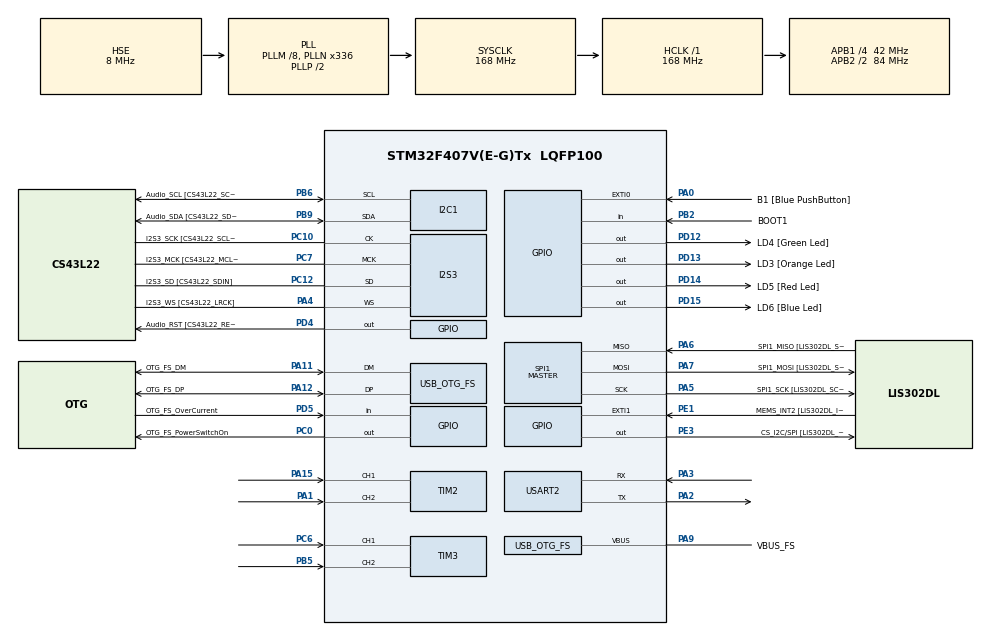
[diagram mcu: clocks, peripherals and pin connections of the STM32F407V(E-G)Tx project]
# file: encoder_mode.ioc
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I2S3.AudioFreq-Half_Duplex_Master=I2S_AUDIOFREQ_96K
I2S3.ErrorAudioFreq=-2.34 %
I2S3.ErrorAudioFreq-Half_Duplex_Master=0.8 %
I2S3.FullDuplexMode=I2S_FULLDUPLEXMODE_DISABLE
I2S3.Instance=SPI$Index
I2S3.RealAudioFreq=93.75 KHz
I2S3.RealAudioFreq-Half_Duplex_Master=96.774 KHz
I2S3.VirtualMode=I2S_MODE_MASTER
Mcu.Family=STM32F4
Mcu.Name=STM32F407V(E-G)Tx
Mcu.Package=LQFP100
NVIC.OTG_FS_IRQn=true\:0\:0\:false\:false\:true\:true\:true\:true
NVIC.PriorityGroup=NVIC_PRIORITYGROUP_0
NVIC.TIM2_IRQn=true\:0\:0\:false\:false\:true\:true\:true\:true
PA0-WKUP.GPIO_Label=B1 [Blue PushButton]
PA0-WKUP.GPIO_ModeDefaultEXTI=GPIO_MODE_EVT_RISING
PA0-WKUP.GPIO_PuPd=GPIO_NOPULL
PA0-WKUP.Signal=GPXTI0
PA1.Signal=S_TIM2_CH2
PA10.GPIO_Label=OTG_FS_ID
PA10.GPIO_Mode=GPIO_MODE_AF_PP
PA10.GPIO_PuPd=GPIO_NOPULL
PA10.GPIO_Speed=GPIO_SPEED_FREQ_LOW
PA10.Signal=USB_OTG_FS_ID
PA11.GPIO_Label=OTG_FS_DM
PA11.GPIO_Mode=GPIO_MODE_AF_PP
PA11.GPIO_PuPd=GPIO_NOPULL
PA11.GPIO_Speed=GPIO_SPEED_FREQ_LOW
PA11.Mode=Host_Only
PA11.Signal=USB_OTG_FS_DM
PA12.GPIO_Label=OTG_FS_DP
PA12.GPIO_Mode=GPIO_MODE_AF_PP
PA12.GPIO_PuPd=GPIO_NOPULL
PA12.GPIO_Speed=GPIO_SPEED_FREQ_LOW
PA12.Mode=Host_Only
PA12.Signal=USB_OTG_FS_DP
PA13.GPIO_Label=SWDIO
PA13.Mode=Serial_Wire
PA13.Signal=SYS_JTMS-SWDIO
PA14.GPIO_Label=SWCLK
PA14.Mode=Serial_Wire
PA14.Signal=SYS_JTCK-SWCLK
PA15.Signal=S_TIM2_CH1_ETR
PA2.Mode=Asynchronous
PA2.Signal=USART2_TX
PA3.Mode=Asynchronous
PA3.Signal=USART2_RX
PA4.GPIO_Label=I2S3_WS [CS43L22_LRCK]
PA4.GPIO_Mode=GPIO_MODE_AF_PP
PA4.GPIO_PuPd=GPIO_NOPULL
PA4.GPIO_Speed=GPIO_SPEED_FREQ_LOW
PA4.Mode=Half_Duplex_Master
PA4.Signal=I2S3_WS
PA5.GPIO_Label=SPI1_SCK [LIS302DL_SCL/SPC]
PA5.GPIO_Mode=GPIO_MODE_AF_PP
PA5.GPIO_PuPd=GPIO_NOPULL
PA5.GPIO_Speed=GPIO_SPEED_FREQ_LOW
PA5.Mode=Full_Duplex_Master
PA5.Signal=SPI1_SCK
PA6.GPIO_Label=SPI1_MISO [LIS302DL_SDO]
PA6.GPIO_Mode=GPIO_MODE_AF_PP
PA6.GPIO_PuPd=GPIO_NOPULL
PA6.GPIO_Speed=GPIO_SPEED_FREQ_LOW
PA6.Mode=Full_Duplex_Master
PA6.Signal=SPI1_MISO
PA7.GPIO_Label=SPI1_MOSI [LIS302DL_SDA/SDI/SDO]
PA7.GPIO_Mode=GPIO_MODE_AF_PP
PA7.GPIO_PuPd=GPIO_NOPULL
PA7.GPIO_Speed=GPIO_SPEED_FREQ_LOW
PA7.Mode=Full_Duplex_Master
PA7.Signal=SPI1_MOSI
PA9.GPIO_Label=VBUS_FS
PA9.GPIO_Mode=GPIO_MODE_INPUT
PA9.GPIO_PuPd=GPIO_NOPULL
PA9.Mode=Activate_VBUS
PA9.Signal=USB_OTG_FS_VBUS
PB10.GPIO_Label=CLK_IN [MP45DT02_CLK]
PB10.GPIO_Mode=GPIO_MODE_AF_PP
PB10.GPIO_PuPd=GPIO_NOPULL
PB10.GPIO_Speed=GPIO_SPEED_FREQ_LOW
PB10.Signal=I2S2_CK
PB2.GPIO_Label=BOOT1
PB2.GPIO_Mode=GPIO_MODE_INPUT
PB2.GPIO_PuPd=GPIO_NOPULL
PB2.Signal=GPIO_Input
PB3.GPIO_Label=SWO
PB3.Signal=SYS_JTDO-SWO
PB5.Signal=S_TIM3_CH2
PB6.GPIO_Label=Audio_SCL [CS43L22_SCL]
PB6.GPIO_Mode=GPIO_MODE_AF_OD
PB6.GPIO_Pu=GPIO_PULLUP
PB6.GPIO_PuPd=GPIO_NOPULL
PB6.GPIO_Speed=GPIO_SPEED_FREQ_LOW
PB6.Mode=I2C
PB6.Signal=I2C1_SCL
PB9.GPIO_Label=Audio_SDA [CS43L22_SDA]
PB9.GPIO_Mode=GPIO_MODE_AF_OD
PB9.GPIO_Pu=GPIO_PULLUP
PB9.GPIO_PuPd=GPIO_NOPULL
PB9.GPIO_Speed=GPIO_SPEED_FREQ_LOW
PB9.Mode=I2C
PB9.Signal=I2C1_SDA
PC0.GPIO_Label=OTG_FS_PowerSwitchOn
PC0.GPIO_PuPd=GPIO_NOPULL
PC0.GPIO_Speed=GPIO_SPEED_FREQ_LOW
PC0.PinState=GPIO_PIN_SET
PC0.Signal=GPIO_Output
PC10.GPIO_Label=I2S3_SCK [CS43L22_SCLK]
PC10.GPIO_Mode=GPIO_MODE_AF_PP
PC10.GPIO_PuPd=GPIO_NOPULL
PC10.GPIO_Speed=GPIO_SPEED_FREQ_LOW
PC10.Mode=Half_Duplex_Master
PC10.Signal=I2S3_CK
PC12.GPIO_Label=I2S3_SD [CS43L22_SDIN]
PC12.GPIO_Mode=GPIO_MODE_AF_PP
PC12.GPIO_PuPd=GPIO_NOPULL
PC12.GPIO_Speed=GPIO_SPEED_FREQ_LOW
PC12.Mode=Half_Duplex_Master
PC12.Signal=I2S3_SD
PC14-OSC32_IN.GPIO_Label=PC14-OSC32_IN
PC14-OSC32_IN.Mode=LSE-External-Oscillator
PC14-OSC32_IN.Signal=RCC_OSC32_IN
PC15-OSC32_OUT.GPIO_Label=PC15-OSC32_OUT
PC15-OSC32_OUT.Mode=LSE-External-Oscillator
PC15-OSC32_OUT.Signal=RCC_OSC32_OUT
PC3.GPIO_Label=PDM_OUT [MP45DT02_DOUT]
PC3.GPIO_Mode=GPIO_MODE_AF_PP
PC3.GPIO_PuPd=GPIO_NOPULL
PC3.GPIO_Speed=GPIO_SPEED_FREQ_LOW
PC3.Signal=I2S2_SD
PC6.Signal=S_TIM3_CH1
PC7.GPIO_Label=I2S3_MCK [CS43L22_MCLK]
PC7.GPIO_Mode=GPIO_MODE_AF_PP
PC7.GPIO_PuPd=GPIO_NOPULL
PC7.GPIO_Speed=GPIO_SPEED_FREQ_LOW
PC7.Mode=Master_Clock_Activated
PC7.Signal=I2S3_MCK
PD12.GPIO_Label=LD4 [Green Led]
PD12.GPIO_PuPd=GPIO_NOPULL
PD12.GPIO_Speed=GPIO_SPEED_FREQ_LOW
PD12.Signal=GPIO_Output
PD13.GPIO_Label=LD3 [Orange Led]
PD13.GPIO_PuPd=GPIO_NOPULL
PD13.GPIO_Speed=GPIO_SPEED_FREQ_LOW
PD13.Signal=GPIO_Output
PD14.GPIO_Label=LD5 [Red Led]
PD14.GPIO_PuPd=GPIO_NOPULL
PD14.GPIO_Speed=GPIO_SPEED_FREQ_LOW
PD14.Signal=GPIO_Output
PD15.GPIO_Label=LD6 [Blue Led]
PD15.GPIO_PuPd=GPIO_NOPULL
PD15.GPIO_Speed=GPIO_SPEED_FREQ_LOW
PD15.Signal=GPIO_Output
PD4.GPIO_Label=Audio_RST [CS43L22_RESET]
PD4.GPIO_PuPd=GPIO_NOPULL
PD4.GPIO_Speed=GPIO_SPEED_FREQ_LOW
PD4.Signal=GPIO_Output
PD5.GPIO_Label=OTG_FS_OverCurrent
PD5.GPIO_Mode=GPIO_MODE_INPUT
PD5.GPIO_PuPd=GPIO_NOPULL
PD5.Signal=GPIO_Input
PE1.GPIO_Label=MEMS_INT2 [LIS302DL_INT2]
PE1.GPIO_ModeDefaultEXTI=GPIO_MODE_EVT_RISING
PE1.GPIO_PuPd=GPIO_NOPULL
PE1.Signal=GPXTI1
PE3.GPIO_Label=CS_I2C/SPI [LIS302DL_CS_I2C/SPI]
PE3.GPIO_PuPd=GPIO_NOPULL
PE3.GPIO_Speed=GPIO_SPEED_FREQ_LOW
PE3.Signal=GPIO_Output
PH0-OSC_IN.GPIO_Label=PH0-OSC_IN
PH0-OSC_IN.Mode=HSE-External-Oscillator
PH0-OSC_IN.Signal=RCC_OSC_IN
PH1-OSC_OUT.GPIO_Label=PH1-OSC_OUT
PH1-OSC_OUT.Mode=HSE-External-Oscillator
PH1-OSC_OUT.Signal=RCC_OSC_OUT
ProjectManager.HeapSize=0x200
ProjectManager.StackSize=0x400
ProjectManager.TargetToolchain=STM32CubeIDE
RCC.48MHZClocksFreq_Value=48000000
RCC.AHBFreq_Value=168000000
RCC.APB1CLKDivider=RCC_HCLK_DIV4
RCC.APB1Freq_Value=42000000
RCC.APB1TimFreq_Value=84000000
RCC.APB2CLKDivider=RCC_HCLK_DIV2
RCC.APB2Freq_Value=84000000
RCC.APB2TimFreq_Value=168000000
RCC.CortexFreq_Value=168000000
RCC.HCLKFreq_Value=168000000
RCC.HSE_VALUE=8000000
RCC.HSI_VALUE=16000000
RCC.PLLM=8
RCC.PLLN=336
RCC.PLLQ=7
RCC.SYSCLKFreq_VALUE=168000000
RCC.SYSCLKSource=RCC_SYSCLKSOURCE_PLLCLK
RCC.VCOOutputFreq_Value=336000000
SH.S_TIM2_CH1_ETR.0=TIM2_CH1,Encoder_Interface
SH.S_TIM2_CH2.0=TIM2_CH2,Encoder_Interface
SH.S_TIM3_CH1.0=TIM3_CH1,Encoder_Interface
SH.S_TIM3_CH2.0=TIM3_CH2,Encoder_Interface
SPI1.BaudRatePrescaler-Full_Duplex_Master=SPI_BAUDRATEPRESCALER_2
SPI1.CalculateBaudRate-Full_Duplex_Master=42.0 MBits/s
SPI1.Direction=SPI_DIRECTION_2LINES
SPI1.Mode=SPI_MODE_MASTER
SPI1.Mode-Full_Duplex_Master=SPI_MODE_MASTER
SPI1.VirtualType=VM_MASTER
TIM2.AutoReloadPreload=TIM_AUTORELOAD_PRELOAD_DISABLE
TIM2.EncoderMode=TIM_ENCODERMODE_TI12
TIM3.AutoReloadPreload=TIM_AUTORELOAD_PRELOAD_ENABLE
TIM3.EncoderMode=TIM_ENCODERMODE_TI12
USART2.VirtualMode=VM_ASYNC
USB_HOST.BSP.number=1
USB_HOST.USBH_HandleTypeDef-CDC_FS=hUsbHostFS
USB_HOST.VirtualModeFS=Cdc
USB_HOST0.BSP.STBoard=false
USB_HOST0.BSP.api=Unknown
USB_HOST0.BSP.instance=PC0
USB_HOST0.BSP.ip=GPIO
USB_HOST0.BSP.mode=Output
USB_HOST0.BSP.name=Drive_VBUS_FS
USB_HOST0.BSP.solution=PC0
USB_OTG_FS.VirtualMode=Host_Only
USB_OTG_FS.phy_itface=HCD_PHY_EMBEDDED
VP_USB_HOST_VS_USB_HOST_CDC_FS.Mode=CDC_FS
board=STM32F407G-DISC1

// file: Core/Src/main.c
/* USER CODE BEGIN Header */
/**
  ******************************************************************************
  * @file           : main.c
  * @brief          : Main program body
  ******************************************************************************
  * @attention
  *
  * Copyright (c) 2023 STMicroelectronics.
  * All rights reserved.
  *
  * This software is licensed under terms that can be found in the LICENSE file
  * in the root directory of this software component.
  * If no LICENSE file comes with this software, it is provided AS-IS.
  *
  ******************************************************************************
  */
/* USER CODE END Header */
#include "main.h"
#include "usb_host.h"

/* USER CODE BEGIN Includes */
#include <stdio.h>
/* USER CODE END Includes */

I2C_HandleTypeDef hi2c1;

I2S_HandleTypeDef hi2s3;

SPI_HandleTypeDef hspi1;

TIM_HandleTypeDef htim2;
TIM_HandleTypeDef htim3;

UART_HandleTypeDef huart2;

void SystemClock_Config(void);
static void MX_GPIO_Init(void);
static void MX_I2C1_Init(void);
static void MX_I2S3_Init(void);
static void MX_SPI1_Init(void);
static void MX_USART2_UART_Init(void);
static void MX_TIM3_Init(void);
static void MX_TIM2_Init(void);
void MX_USB_HOST_Process(void);

/* USER CODE BEGIN 0 */
uint32_t rot_new_state;
uint32_t rot_old_state;
uint32_t rot_cnt;
uint32_t _write(int file, char* p, int len){
	HAL_UART_Transmit(&huart2, p, len, 10);
	return len;

}

/* USER CODE END 0 */

int main(void)
{

  /* MCU Configuration--------------------------------------------------------*/

  /* Reset of all peripherals, Initializes the Flash interface and the Systick. */
  HAL_Init();

  /* Configure the system clock */
  SystemClock_Config();

  /* Initialize all configured peripherals */
  MX_GPIO_Init();
  MX_I2C1_Init();
  MX_I2S3_Init();
  MX_SPI1_Init();
  MX_USB_HOST_Init();
  MX_USART2_UART_Init();
  MX_TIM3_Init();
  MX_TIM2_Init();
  /* USER CODE BEGIN 2 */

  HAL_TIM_Encoder_Start_IT(&htim2, TIM_CHANNEL_ALL);

  /* USER CODE END 2 */

  /* Infinite loop */
  while (1)
  {
    MX_USB_HOST_Process();
    uint32_t last_print = 0, now = 0;

    long int count = (int)TIM2->CNT/4;

	now = HAL_GetTick();
	if (now - last_print >= 1000) {
		printf("Encoder counter = %ld\n", count );
		last_print = now;

    }
  }
}

void SystemClock_Config(void)
{
  RCC_OscInitTypeDef RCC_OscInitStruct = {0};
  RCC_ClkInitTypeDef RCC_ClkInitStruct = {0};

  /** Configure the main internal regulator output voltage
  */
  __HAL_RCC_PWR_CLK_ENABLE();
  __HAL_PWR_VOLTAGESCALING_CONFIG(PWR_REGULATOR_VOLTAGE_SCALE1);

  /** Initializes the RCC Oscillators according to the specified parameters
  * in the RCC_OscInitTypeDef structure.
  */
  RCC_OscInitStruct.OscillatorType = RCC_OSCILLATORTYPE_HSE;
  RCC_OscInitStruct.HSEState = RCC_HSE_ON;
  RCC_OscInitStruct.PLL.PLLState = RCC_PLL_ON;
  RCC_OscInitStruct.PLL.PLLSource = RCC_PLLSOURCE_HSE;
  RCC_OscInitStruct.PLL.PLLM = 8;
  RCC_OscInitStruct.PLL.PLLN = 336;
  RCC_OscInitStruct.PLL.PLLP = RCC_PLLP_DIV2;
  RCC_OscInitStruct.PLL.PLLQ = 7;
  if (HAL_RCC_OscConfig(&RCC_OscInitStruct) != HAL_OK)
  {
    Error_Handler();
  }

  /** Initializes the CPU, AHB and APB buses clocks
  */
  RCC_ClkInitStruct.ClockType = RCC_CLOCKTYPE_HCLK|RCC_CLOCKTYPE_SYSCLK
                              |RCC_CLOCKTYPE_PCLK1|RCC_CLOCKTYPE_PCLK2;
  RCC_ClkInitStruct.SYSCLKSource = RCC_SYSCLKSOURCE_PLLCLK;
  RCC_ClkInitStruct.AHBCLKDivider = RCC_SYSCLK_DIV1;
  RCC_ClkInitStruct.APB1CLKDivider = RCC_HCLK_DIV4;
  RCC_ClkInitStruct.APB2CLKDivider = RCC_HCLK_DIV2;

  if (HAL_RCC_ClockConfig(&RCC_ClkInitStruct, FLASH_LATENCY_5) != HAL_OK)
  {
    Error_Handler();
  }
}

static void MX_I2C1_Init(void)
{

  hi2c1.Instance = I2C1;
  hi2c1.Init.ClockSpeed = 100000;
  hi2c1.Init.DutyCycle = I2C_DUTYCYCLE_2;
  hi2c1.Init.OwnAddress1 = 0;
  hi2c1.Init.AddressingMode = I2C_ADDRESSINGMODE_7BIT;
  hi2c1.Init.DualAddressMode = I2C_DUALADDRESS_DISABLE;
  hi2c1.Init.OwnAddress2 = 0;
  hi2c1.Init.GeneralCallMode = I2C_GENERALCALL_DISABLE;
  hi2c1.Init.NoStretchMode = I2C_NOSTRETCH_DISABLE;
  if (HAL_I2C_Init(&hi2c1) != HAL_OK)
  {
    Error_Handler();
  }

}

static void MX_I2S3_Init(void)
{

  hi2s3.Instance = SPI3;
  hi2s3.Init.Mode = I2S_MODE_MASTER_TX;
  hi2s3.Init.Standard = I2S_STANDARD_PHILIPS;
  hi2s3.Init.DataFormat = I2S_DATAFORMAT_16B;
  hi2s3.Init.MCLKOutput = I2S_MCLKOUTPUT_ENABLE;
  hi2s3.Init.AudioFreq = I2S_AUDIOFREQ_96K;
  hi2s3.Init.CPOL = I2S_CPOL_LOW;
  hi2s3.Init.ClockSource = I2S_CLOCK_PLL;
  hi2s3.Init.FullDuplexMode = I2S_FULLDUPLEXMODE_DISABLE;
  if (HAL_I2S_Init(&hi2s3) != HAL_OK)
  {
    Error_Handler();
  }

}

static void MX_SPI1_Init(void)
{

  /* SPI1 parameter configuration*/
  hspi1.Instance = SPI1;
  hspi1.Init.Mode = SPI_MODE_MASTER;
  hspi1.Init.Direction = SPI_DIRECTION_2LINES;
  hspi1.Init.DataSize = SPI_DATASIZE_8BIT;
  hspi1.Init.CLKPolarity = SPI_POLARITY_LOW;
  hspi1.Init.CLKPhase = SPI_PHASE_1EDGE;
  hspi1.Init.NSS = SPI_NSS_SOFT;
  hspi1.Init.BaudRatePrescaler = SPI_BAUDRATEPRESCALER_2;
  hspi1.Init.FirstBit = SPI_FIRSTBIT_MSB;
  hspi1.Init.TIMode = SPI_TIMODE_DISABLE;
  hspi1.Init.CRCCalculation = SPI_CRCCALCULATION_DISABLE;
  hspi1.Init.CRCPolynomial = 10;
  if (HAL_SPI_Init(&hspi1) != HAL_OK)
  {
    Error_Handler();
  }

}

static void MX_TIM2_Init(void)
{

  TIM_Encoder_InitTypeDef sConfig = {0};
  TIM_MasterConfigTypeDef sMasterConfig = {0};

  htim2.Instance = TIM2;
  htim2.Init.Prescaler = 0;
  htim2.Init.CounterMode = TIM_COUNTERMODE_UP;
  htim2.Init.Period = 4294967295;
  htim2.Init.ClockDivision = TIM_CLOCKDIVISION_DIV1;
  htim2.Init.AutoReloadPreload = TIM_AUTORELOAD_PRELOAD_DISABLE;
  sConfig.EncoderMode = TIM_ENCODERMODE_TI12;
  sConfig.IC1Polarity = TIM_ICPOLARITY_RISING;
  sConfig.IC1Selection = TIM_ICSELECTION_DIRECTTI;
  sConfig.IC1Prescaler = TIM_ICPSC_DIV1;
  sConfig.IC1Filter = 0;
  sConfig.IC2Polarity = TIM_ICPOLARITY_RISING;
  sConfig.IC2Selection = TIM_ICSELECTION_DIRECTTI;
  sConfig.IC2Prescaler = TIM_ICPSC_DIV1;
  sConfig.IC2Filter = 0;
  if (HAL_TIM_Encoder_Init(&htim2, &sConfig) != HAL_OK)
  {
    Error_Handler();
  }
  sMasterConfig.MasterOutputTrigger = TIM_TRGO_RESET;
  sMasterConfig.MasterSlaveMode = TIM_MASTERSLAVEMODE_DISABLE;
  if (HAL_TIMEx_MasterConfigSynchronization(&htim2, &sMasterConfig) != HAL_OK)
  {
    Error_Handler();
  }

}

static void MX_TIM3_Init(void)
{

  TIM_Encoder_InitTypeDef sConfig = {0};
  TIM_MasterConfigTypeDef sMasterConfig = {0};

  htim3.Instance = TIM3;
  htim3.Init.Prescaler = 0;
  htim3.Init.CounterMode = TIM_COUNTERMODE_UP;
  htim3.Init.Period = 65535;
  htim3.Init.ClockDivision = TIM_CLOCKDIVISION_DIV1;
  htim3.Init.AutoReloadPreload = TIM_AUTORELOAD_PRELOAD_ENABLE;
  sConfig.EncoderMode = TIM_ENCODERMODE_TI12;
  sConfig.IC1Polarity = TIM_ICPOLARITY_RISING;
  sConfig.IC1Selection = TIM_ICSELECTION_DIRECTTI;
  sConfig.IC1Prescaler = TIM_ICPSC_DIV1;
  sConfig.IC1Filter = 0;
  sConfig.IC2Polarity = TIM_ICPOLARITY_RISING;
  sConfig.IC2Selection = TIM_ICSELECTION_DIRECTTI;
  sConfig.IC2Prescaler = TIM_ICPSC_DIV1;
  sConfig.IC2Filter = 0;
  if (HAL_TIM_Encoder_Init(&htim3, &sConfig) != HAL_OK)
  {
    Error_Handler();
  }
  sMasterConfig.MasterOutputTrigger = TIM_TRGO_RESET;
  sMasterConfig.MasterSlaveMode = TIM_MASTERSLAVEMODE_DISABLE;
  if (HAL_TIMEx_MasterConfigSynchronization(&htim3, &sMasterConfig) != HAL_OK)
  {
    Error_Handler();
  }

}

static void MX_USART2_UART_Init(void)
{

  huart2.Instance = USART2;
  huart2.Init.BaudRate = 115200;
  huart2.Init.WordLength = UART_WORDLENGTH_8B;
  huart2.Init.StopBits = UART_STOPBITS_1;
  huart2.Init.Parity = UART_PARITY_NONE;
  huart2.Init.Mode = UART_MODE_TX_RX;
  huart2.Init.HwFlowCtl = UART_HWCONTROL_NONE;
  huart2.Init.OverSampling = UART_OVERSAMPLING_16;
  if (HAL_UART_Init(&huart2) != HAL_OK)
  {
    Error_Handler();
  }

}

static void MX_GPIO_Init(void)
{
  GPIO_InitTypeDef GPIO_InitStruct = {0};

  /* GPIO Ports Clock Enable */
  __HAL_RCC_GPIOE_CLK_ENABLE();
  __HAL_RCC_GPIOC_CLK_ENABLE();
  __HAL_RCC_GPIOH_CLK_ENABLE();
  __HAL_RCC_GPIOA_CLK_ENABLE();
  __HAL_RCC_GPIOB_CLK_ENABLE();
  __HAL_RCC_GPIOD_CLK_ENABLE();

  /*Configure GPIO pin Output Level */
  HAL_GPIO_WritePin(CS_I2C_SPI_GPIO_Port, CS_I2C_SPI_Pin, GPIO_PIN_RESET);

  /*Configure GPIO pin Output Level */
  HAL_GPIO_WritePin(OTG_FS_PowerSwitchOn_GPIO_Port, OTG_FS_PowerSwitchOn_Pin, GPIO_PIN_SET);

  /*Configure GPIO pin Output Level */
  HAL_GPIO_WritePin(GPIOD, LD4_Pin|LD3_Pin|LD5_Pin|LD6_Pin
                          |Audio_RST_Pin, GPIO_PIN_RESET);

  /*Configure GPIO pin : CS_I2C_SPI_Pin */
  GPIO_InitStruct.Pin = CS_I2C_SPI_Pin;
  GPIO_InitStruct.Mode = GPIO_MODE_OUTPUT_PP;
  GPIO_InitStruct.Pull = GPIO_NOPULL;
  GPIO_InitStruct.Speed = GPIO_SPEED_FREQ_LOW;
  HAL_GPIO_Init(CS_I2C_SPI_GPIO_Port, &GPIO_InitStruct);

  /*Configure GPIO pin : OTG_FS_PowerSwitchOn_Pin */
  GPIO_InitStruct.Pin = OTG_FS_PowerSwitchOn_Pin;
  GPIO_InitStruct.Mode = GPIO_MODE_OUTPUT_PP;
  GPIO_InitStruct.Pull = GPIO_NOPULL;
  GPIO_InitStruct.Speed = GPIO_SPEED_FREQ_LOW;
  HAL_GPIO_Init(OTG_FS_PowerSwitchOn_GPIO_Port, &GPIO_InitStruct);

  /*Configure GPIO pin : PDM_OUT_Pin */
  GPIO_InitStruct.Pin = PDM_OUT_Pin;
  GPIO_InitStruct.Mode = GPIO_MODE_AF_PP;
  GPIO_InitStruct.Pull = GPIO_NOPULL;
  GPIO_InitStruct.Speed = GPIO_SPEED_FREQ_LOW;
  GPIO_InitStruct.Alternate = GPIO_AF5_SPI2;
  HAL_GPIO_Init(PDM_OUT_GPIO_Port, &GPIO_InitStruct);

  /*Configure GPIO pin : B1_Pin */
  GPIO_InitStruct.Pin = B1_Pin;
  GPIO_InitStruct.Mode = GPIO_MODE_EVT_RISING;
  GPIO_InitStruct.Pull = GPIO_NOPULL;
  HAL_GPIO_Init(B1_GPIO_Port, &GPIO_InitStruct);

  /*Configure GPIO pin : BOOT1_Pin */
  GPIO_InitStruct.Pin = BOOT1_Pin;
  GPIO_InitStruct.Mode = GPIO_MODE_INPUT;
  GPIO_InitStruct.Pull = GPIO_NOPULL;
  HAL_GPIO_Init(BOOT1_GPIO_Port, &GPIO_InitStruct);

  /*Configure GPIO pin : CLK_IN_Pin */
  GPIO_InitStruct.Pin = CLK_IN_Pin;
  GPIO_InitStruct.Mode = GPIO_MODE_AF_PP;
  GPIO_InitStruct.Pull = GPIO_NOPULL;
  GPIO_InitStruct.Speed = GPIO_SPEED_FREQ_LOW;
  GPIO_InitStruct.Alternate = GPIO_AF5_SPI2;
  HAL_GPIO_Init(CLK_IN_GPIO_Port, &GPIO_InitStruct);

  /*Configure GPIO pins : LD4_Pin LD3_Pin LD5_Pin LD6_Pin
                           Audio_RST_Pin */
  GPIO_InitStruct.Pin = LD4_Pin|LD3_Pin|LD5_Pin|LD6_Pin
                          |Audio_RST_Pin;
  GPIO_InitStruct.Mode = GPIO_MODE_OUTPUT_PP;
  GPIO_InitStruct.Pull = GPIO_NOPULL;
  GPIO_InitStruct.Speed = GPIO_SPEED_FREQ_LOW;
  HAL_GPIO_Init(GPIOD, &GPIO_InitStruct);

  /*Configure GPIO pin : OTG_FS_OverCurrent_Pin */
  GPIO_InitStruct.Pin = OTG_FS_OverCurrent_Pin;
  GPIO_InitStruct.Mode = GPIO_MODE_INPUT;
  GPIO_InitStruct.Pull = GPIO_NOPULL;
  HAL_GPIO_Init(OTG_FS_OverCurrent_GPIO_Port, &GPIO_InitStruct);

  /*Configure GPIO pin : MEMS_INT2_Pin */
  GPIO_InitStruct.Pin = MEMS_INT2_Pin;
  GPIO_InitStruct.Mode = GPIO_MODE_EVT_RISING;
  GPIO_InitStruct.Pull = GPIO_NOPULL;
  HAL_GPIO_Init(MEMS_INT2_GPIO_Port, &GPIO_InitStruct);

}

/* USER CODE BEGIN 4 */
uint32_t rot_get_state() {
	return (uint32_t)((HAL_GPIO_ReadPin(GPIOA, GPIO_PIN_1) << 1)
                | (HAL_GPIO_ReadPin(GPIOA, GPIO_PIN_15)));
}

// External interrupts from rotary encoder
void HAL_GPIO_EXTI_Callback(uint32_t GPIO_Pin) {

	if (GPIO_Pin == GPIO_PIN_15 || GPIO_Pin == GPIO_PIN_1) {

		rot_new_state = rot_get_state();  //https://stm32world.com/wiki/STM32_Rotary_Encoder

		printf("rotation = %ld:%ld\n", rot_old_state, rot_new_state);

		// Check transition
		if (rot_old_state == 3 && rot_new_state == 2) {        // 3 -> 2 transition
			rot_cnt++;
		} else if (rot_old_state == 2 && rot_new_state == 0) { // 2 -> 0 transition
			rot_cnt++;
		} else if (rot_old_state == 0 && rot_new_state == 1) { // 0 -> 1 transition
			rot_cnt++;
		} else if (rot_old_state == 1 && rot_new_state == 3) { // 1 -> 3 transition
			rot_cnt++;
		} else if (rot_old_state == 3 && rot_new_state == 1) { // 3 -> 1 transition
			rot_cnt--;
		} else if (rot_old_state == 1 && rot_new_state == 0) { // 1 -> 0 transition
			rot_cnt--;
		} else if (rot_old_state == 0 && rot_new_state == 2) { // 0 -> 2 transition
			rot_cnt--;
		} else if (rot_old_state == 2 && rot_new_state == 3) { // 2 -> 3 transition
			rot_cnt--;
		}

		rot_old_state = rot_new_state;
	}
}
/* USER CODE END 4 */

void Error_Handler(void)
{
  __disable_irq();
  while (1)
  {
  }
}
